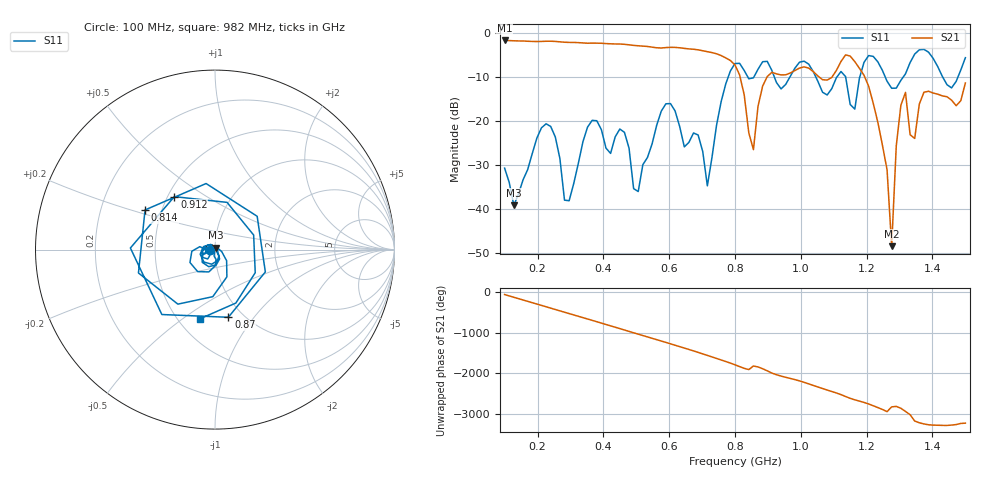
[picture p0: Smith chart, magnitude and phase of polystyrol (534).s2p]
! NanoVNA-App
! Date: 2025-09-25 15:34:02
! Start: 100MHz Stop: 1,5GHz Points: 101
! S-Parameter data: F S11 S21 S12 S22
# Hz S RI R 50
!  Frequency  S11_Real  S11_Imag  S21_Real  S21_Imag  S12_Real  S12_Imag  S22_Real  S22_Imag
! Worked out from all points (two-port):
!   101 points, 100 MHz to 1.5 GHz, reference 50 ohm
!   highest |S21| = -1.80 dB at 100 MHz (marker M1); lowest = -48.4 dB at 1.276 GHz (marker M2)
!   |S21| within 3 dB of the highest: start of sweep to 743 MHz
!   lowest |S11| = -39.1 dB at 128 MHz (marker M3), VSWR 1.02, Z = 50.3 + j1.06 ohm
!   |S11| at or under -10 dB: start of sweep to 779.7 MHz; 1.045 GHz to 1.11 GHz (65.22 MHz wide, 6.05 % of centre); 1.256 GHz to 1.312 GHz (55.75 MHz wide, 4.34 % of centre) (the widest 3 of 7)
!   S12 and S22 are empty: the file has one direction only
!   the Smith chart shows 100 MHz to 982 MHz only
!   S11 on the Smith chart (normalised r, x): 100 MHz: 0.94, -0.01; 814 MHz: 0.40, +0.22; 870 MHz: 0.85, -0.75; 912 MHz: 0.54, +0.37; 982 MHz: 0.64, -0.58
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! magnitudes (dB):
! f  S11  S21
! 100 MHz  -30.7  -1.8
! 128 MHz  -39.1  -1.9
! 212 MHz  -21.6  -2.0
! 282 MHz  -37.9  -2.2
! 338 MHz  -24.7  -2.4
! 506 MHz  -36.0  -3.0
! 576 MHz  -17.8  -3.5
! 716 MHz  -34.7  -4.3
! 800 MHz  -7.0  -7.3
! 814 MHz  -7.0  -9.6
! 856 MHz  -10.3  -26.5
! 870 MHz  -8.3  -16.7
! 912 MHz  -8.6  -9.0
! 982 MHz  -8.1  -8.6
! 1.038 GHz  -8.9  -8.9
! 1.192 GHz  -6.8  -9.7
! 1.262 GHz  -11.0  -31.1
! 1.276 GHz  -12.6  -48.4
! 1.29 GHz  -12.6  -25.6
! 1.318 GHz  -9.4  -13.6
! 1.346 GHz  -4.9  -24.0
! 1.5 GHz  -5.7  -11.4
